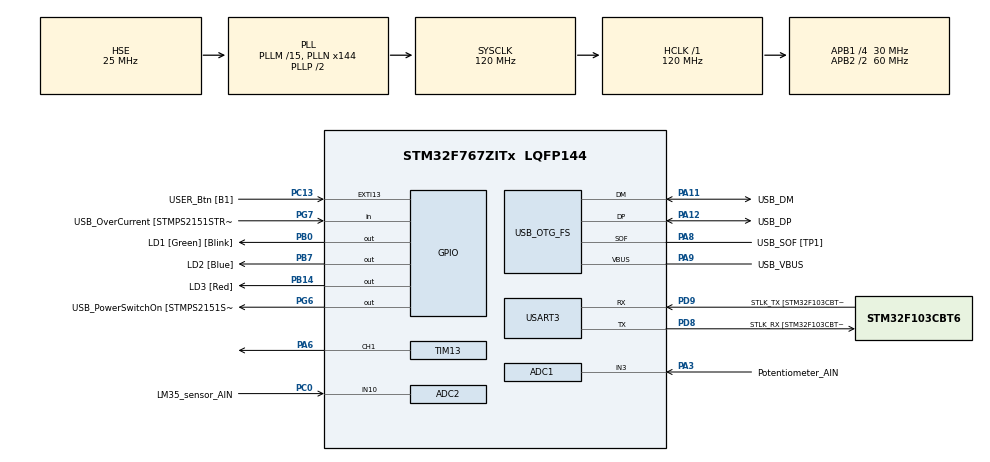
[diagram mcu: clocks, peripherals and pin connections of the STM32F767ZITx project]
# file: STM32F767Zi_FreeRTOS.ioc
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ADC1.Channel-4\#ChannelRegularConversion=ADC_CHANNEL_3
ADC1.ClockPrescaler=ADC_CLOCK_SYNC_PCLK_DIV4
ADC1.ContinuousConvMode=ENABLE
ADC1.EOCSelection=ADC_EOC_SEQ_CONV
ADC1.NbrOfConversionFlag=1
ADC1.Rank-4\#ChannelRegularConversion=1
ADC1.Resolution=ADC_RESOLUTION_10B
ADC1.SamplingTime-4\#ChannelRegularConversion=ADC_SAMPLETIME_3CYCLES
ADC1.master=1
ADC2.Channel-1\#ChannelRegularConversion=ADC_CHANNEL_10
ADC2.ClockPrescaler=ADC_CLOCK_SYNC_PCLK_DIV4
ADC2.ContinuousConvMode=ENABLE
ADC2.EOCSelection=ADC_EOC_SEQ_CONV
ADC2.NbrOfConversionFlag=1
ADC2.Rank-1\#ChannelRegularConversion=1
ADC2.SamplingTime-1\#ChannelRegularConversion=ADC_SAMPLETIME_3CYCLES
FREERTOS.Events01=ISREvent,Static,ISREventControlBlock
FREERTOS.Queues01=msg_Queue,16,QUEUE_t,0,Static,msg_QueueBuffer,msg_QueueControlBlock
FREERTOS.Tasks01=defaultTask,24,128,StartDefaultTask,Default,NULL,Dynamic,NULL,NULL;BlinkyTask,8,128,StartBlinkyTask,Default,NULL,Dynamic,NULL,NULL;adcReadValueT,8,128,adcReadValueTask,Default,NULL,Static,adcReadValueTBuffer,adcReadValueTControlBlock;readTempT,8,128,readTempTask,Default,NULL,Static,myTask04Buffer,myTask04ControlBlock;pwmLedBrightnes,8,128,pwmLedBrightnessTask,Default,NULL,Static,pwmLedBrightnesBuffer,pwmLedBrightnesControlBlock;usartDebugPrint,8,128,usartDebugPrintTask,Default,NULL,Static,usartDebugPrintBuffer,usartDebugPrintControlBlock;checkISRStateT,24,256,checkISRStateTask,Default,NULL,Static,checkISRStateTBuffer,checkISRStateTControlBlock
FREERTOS.configGENERATE_RUN_TIME_STATS=1
FREERTOS.configUSE_NEWLIB_REENTRANT=1
FREERTOS.configUSE_STATS_FORMATTING_FUNCTIONS=1
Mcu.Family=STM32F7
Mcu.Name=STM32F767ZITx
Mcu.Package=LQFP144
NVIC.EXTI15_10_IRQn=true\:5\:0\:false\:false\:true\:true\:true\:true\:true
NVIC.PriorityGroup=NVIC_PRIORITYGROUP_4
NVIC.TIM1_UP_TIM10_IRQn=true\:5\:0\:false\:false\:true\:false\:true\:true\:true
NVIC.TIM8_UP_TIM13_IRQn=true\:15\:0\:false\:false\:true\:false\:false\:true\:true
NVIC.TimeBase=TIM8_UP_TIM13_IRQn
NVIC.TimeBaseIP=TIM8
PA11.GPIO_Label=USB_DM
PA11.Mode=Device_Only
PA11.Signal=USB_OTG_FS_DM
PA12.GPIO_Label=USB_DP
PA12.Mode=Device_Only
PA12.Signal=USB_OTG_FS_DP
PA13.GPIO_Label=TMS
PA13.Mode=Trace_Asynchronous_SW
PA13.Signal=SYS_JTMS-SWDIO
PA14.GPIO_Label=TCK
PA14.Mode=Trace_Asynchronous_SW
PA14.Signal=SYS_JTCK-SWCLK
PA3.GPIO_Label=Potentiometer_AIN
PA3.Signal=ADCx_IN3
PA6.Signal=S_TIM13_CH1
PA8.GPIO_Label=USB_SOF [TP1]
PA8.Mode=Activate_SOF_FS
PA8.Signal=USB_OTG_FS_SOF
PA9.GPIO_Label=USB_VBUS
PA9.Mode=Activate_VBUS
PA9.Signal=USB_OTG_FS_VBUS
PB0.GPIO_Label=LD1 [Green] [Blink]
PB0.Signal=GPIO_Output
PB14.GPIO_Label=LD3 [Red]
PB14.Signal=GPIO_Output
PB3.Mode=Trace_Asynchronous_SW
PB3.Signal=SYS_JTDO-SWO
PB7.GPIO_Label=LD2 [Blue]
PB7.Signal=GPIO_Output
PC0.GPIO_Label=LM35_sensor_AIN
PC0.Signal=ADCx_IN10
PC13.GPIO_Label=USER_Btn [B1]
PC13.GPIO_ModeDefaultEXTI=GPIO_MODE_IT_FALLING
PC13.GPIO_PuPd=GPIO_NOPULL
PC13.Signal=GPXTI13
PC14/OSC32_IN.Mode=LSE-External-Oscillator
PC14/OSC32_IN.Signal=RCC_OSC32_IN
PC15/OSC32_OUT.Mode=LSE-External-Oscillator
PC15/OSC32_OUT.Signal=RCC_OSC32_OUT
PD8.GPIO_Label=STLK_RX [STM32F103CBT6_PA3]
PD8.Mode=Asynchronous
PD8.Signal=USART3_TX
PD9.GPIO_Label=STLK_TX [STM32F103CBT6_PA2]
PD9.Mode=Asynchronous
PD9.Signal=USART3_RX
PG6.GPIO_Label=USB_PowerSwitchOn [STMPS2151STR_EN]
PG6.Signal=GPIO_Output
PG7.GPIO_Label=USB_OverCurrent [STMPS2151STR_FAULT]
PG7.Signal=GPIO_Input
PH0/OSC_IN.GPIO_Label=MCO [STM32F103CBT6_PA8]
PH0/OSC_IN.Mode=HSE-External-Oscillator
PH0/OSC_IN.Signal=RCC_OSC_IN
PH1/OSC_OUT.Mode=HSE-External-Oscillator
PH1/OSC_OUT.Signal=RCC_OSC_OUT
ProjectManager.HeapSize=0x200
ProjectManager.StackSize=0x400
ProjectManager.TargetToolchain=STM32CubeIDE
RCC.48MHZClocksFreq_Value=24000000
RCC.AHBFreq_Value=120000000
RCC.APB1CLKDivider=RCC_HCLK_DIV4
RCC.APB1Freq_Value=30000000
RCC.APB1TimFreq_Value=60000000
RCC.APB2CLKDivider=RCC_HCLK_DIV2
RCC.APB2Freq_Value=60000000
RCC.APB2TimFreq_Value=120000000
RCC.CortexFreq_Value=120000000
RCC.HCLKFreq_Value=120000000
RCC.HSE_VALUE=25000000
RCC.HSI_VALUE=16000000
RCC.PLLM=15
RCC.PLLMUL=RCC_PLL_MUL9
RCC.PLLN=144
RCC.PLLQ=5
RCC.PRESCALERUSB=RCC_USBCLKSOURCE_PLL_DIV1_5
RCC.SYSCLKFreq_VALUE=120000000
RCC.SYSCLKSource=RCC_SYSCLKSOURCE_PLLCLK
RCC.SYSCLKSourceVirtual=RCC_SYSCLKSOURCE_PLLCLK
RCC.USART3CLockSelection=RCC_USART3CLKSOURCE_HSI
RCC.USBFreq_Value=48000000
RCC.VCOOutputFreq_Value=240000000
SH.ADCx_IN10.0=ADC2_IN10,IN10
SH.ADCx_IN3.0=ADC1_IN3,IN3
SH.S_TIM13_CH1.0=TIM13_CH1,PWM Generation1 CH1
TIM10.Period=599
TIM13.Channel=TIM_CHANNEL_1
TIM13.Period=1023
TIM13.Prescaler=0
USART3.VirtualMode-Asynchronous=VM_ASYNC
USB_OTG_FS.VirtualMode=Device_Only
VP_FREERTOS_VS_CMSIS_V2.Mode=CMSIS_V2
VP_SYS_VS_tim8.Mode=TIM8
VP_TIM10_VS_ClockSourceINT.Mode=Enable_Timer
VP_TIM13_VS_ClockSourceINT.Mode=Enable_Timer
board=NUCLEO-F767ZI

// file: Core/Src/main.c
/* USER CODE BEGIN Header */
/**
  ******************************************************************************
  * @file           : main.c
  * @brief          : Main program body
  ******************************************************************************
  * @attention
  *
  * Copyright (c) 2023 STMicroelectronics.
  * All rights reserved.
  *
  * This software is licensed under terms that can be found in the LICENSE file
  * in the root directory of this software component.
  * If no LICENSE file comes with this software, it is provided AS-IS.
  *
  ******************************************************************************
  */
/* USER CODE END Header */
#include "main.h"
#include "cmsis_os.h"

/* USER CODE BEGIN Includes */
#include "string.h"
#include "stdlib.h"
#include "stdio.h"
#include "stdbool.h"
/* USER CODE END Includes */

typedef StaticTask_t osStaticThreadDef_t;
typedef StaticQueue_t osStaticMessageQDef_t;
typedef StaticEventGroup_t osStaticEventGroupDef_t;
/* USER CODE BEGIN PTD */

typedef struct{
	char msg_buf[200];
	uint16_t adc_val;
} QUEUE_t;

/* USER CODE END PTD */

/* USER CODE BEGIN PD */
#define ADC_RESOLUTION          (uint16_t)(4095)
#define ADC_VREF                (uint16_t)(3300)
#define TM35_MV_TO_C						(10)
#define LED_ISR_FLAG			(uint32_t)(0x51)
/* USER CODE END PD */

ADC_HandleTypeDef hadc1;
ADC_HandleTypeDef hadc2;

TIM_HandleTypeDef htim10;
TIM_HandleTypeDef htim13;

UART_HandleTypeDef huart3;

PCD_HandleTypeDef hpcd_USB_OTG_FS;

/* Definitions for defaultTask */
osThreadId_t defaultTaskHandle;
const osThreadAttr_t defaultTask_attributes = {
  .name = "defaultTask",
  .stack_size = 128 * 4,
  .priority = (osPriority_t) osPriorityNormal,
};
/* Definitions for BlinkyTask */
osThreadId_t BlinkyTaskHandle;
const osThreadAttr_t BlinkyTask_attributes = {
  .name = "BlinkyTask",
  .stack_size = 128 * 4,
  .priority = (osPriority_t) osPriorityLow,
};
/* Definitions for adcReadValueT */
osThreadId_t adcReadValueTHandle;
uint32_t adcReadValueTBuffer[ 128 ];
osStaticThreadDef_t adcReadValueTControlBlock;
const osThreadAttr_t adcReadValueT_attributes = {
  .name = "adcReadValueT",
  .cb_mem = &adcReadValueTControlBlock,
  .cb_size = sizeof(adcReadValueTControlBlock),
  .stack_mem = &adcReadValueTBuffer[0],
  .stack_size = sizeof(adcReadValueTBuffer),
  .priority = (osPriority_t) osPriorityLow,
};
/* Definitions for readTempT */
osThreadId_t readTempTHandle;
uint32_t myTask04Buffer[ 128 ];
osStaticThreadDef_t myTask04ControlBlock;
const osThreadAttr_t readTempT_attributes = {
  .name = "readTempT",
  .cb_mem = &myTask04ControlBlock,
  .cb_size = sizeof(myTask04ControlBlock),
  .stack_mem = &myTask04Buffer[0],
  .stack_size = sizeof(myTask04Buffer),
  .priority = (osPriority_t) osPriorityLow,
};
/* Definitions for pwmLedBrightnes */
osThreadId_t pwmLedBrightnesHandle;
uint32_t pwmLedBrightnesBuffer[ 128 ];
osStaticThreadDef_t pwmLedBrightnesControlBlock;
const osThreadAttr_t pwmLedBrightnes_attributes = {
  .name = "pwmLedBrightnes",
  .cb_mem = &pwmLedBrightnesControlBlock,
  .cb_size = sizeof(pwmLedBrightnesControlBlock),
  .stack_mem = &pwmLedBrightnesBuffer[0],
  .stack_size = sizeof(pwmLedBrightnesBuffer),
  .priority = (osPriority_t) osPriorityLow,
};
/* Definitions for usartDebugPrint */
osThreadId_t usartDebugPrintHandle;
uint32_t usartDebugPrintBuffer[ 128 ];
osStaticThreadDef_t usartDebugPrintControlBlock;
const osThreadAttr_t usartDebugPrint_attributes = {
  .name = "usartDebugPrint",
  .cb_mem = &usartDebugPrintControlBlock,
  .cb_size = sizeof(usartDebugPrintControlBlock),
  .stack_mem = &usartDebugPrintBuffer[0],
  .stack_size = sizeof(usartDebugPrintBuffer),
  .priority = (osPriority_t) osPriorityLow,
};
/* Definitions for checkISRStateT */
osThreadId_t checkISRStateTHandle;
uint32_t checkISRStateTBuffer[ 256 ];
osStaticThreadDef_t checkISRStateTControlBlock;
const osThreadAttr_t checkISRStateT_attributes = {
  .name = "checkISRStateT",
  .cb_mem = &checkISRStateTControlBlock,
  .cb_size = sizeof(checkISRStateTControlBlock),
  .stack_mem = &checkISRStateTBuffer[0],
  .stack_size = sizeof(checkISRStateTBuffer),
  .priority = (osPriority_t) osPriorityNormal,
};
/* Definitions for msg_Queue */
osMessageQueueId_t msg_QueueHandle;
uint8_t msg_QueueBuffer[ 16 * sizeof( QUEUE_t ) ];
osStaticMessageQDef_t msg_QueueControlBlock;
const osMessageQueueAttr_t msg_Queue_attributes = {
  .name = "msg_Queue",
  .cb_mem = &msg_QueueControlBlock,
  .cb_size = sizeof(msg_QueueControlBlock),
  .mq_mem = &msg_QueueBuffer,
  .mq_size = sizeof(msg_QueueBuffer)
};
/* Definitions for ISREvent */
osEventFlagsId_t ISREventHandle;
osStaticEventGroupDef_t ISREventControlBlock;
const osEventFlagsAttr_t ISREvent_attributes = {
  .name = "ISREvent",
  .cb_mem = &ISREventControlBlock,
  .cb_size = sizeof(ISREventControlBlock),
};
/* USER CODE BEGIN PV */
#if (FREERTOS_PROFILER == 1)
volatile unsigned long ulHighFrequencyTimerTicks;
#endif

TaskHandle_t myTaskLedBlink = NULL;

osEventFlagsId_t EventGroup1;
/* USER CODE END PV */

void SystemClock_Config(void);
static void MX_GPIO_Init(void);
static void MX_ADC1_Init(void);
static void MX_TIM13_Init(void);
static void MX_ADC2_Init(void);
static void MX_TIM10_Init(void);
static void MX_USART3_UART_Init(void);
static void MX_USB_OTG_FS_PCD_Init(void);
void StartDefaultTask(void *argument);
void StartBlinkyTask(void *argument);
void adcReadValueTask(void *argument);
void readTempTask(void *argument);
void pwmLedBrightnessTask(void *argument);
void usartDebugPrintTask(void *argument);
void checkISRStateTask(void *argument);

/* USER CODE BEGIN PFP */
void ledBlinkBlue(void *pvParameters);
static uint16_t getTemperature(uint16_t adc_raw_value);
static void printUsartMessage(char* message);

void configureTimerForRunTimeStats(void);
unsigned long getRunTimeCounterValue(void);

/* USER CODE END PFP */

/* USER CODE BEGIN 0 */
#if (SWO_DEBUG == 1)

/* Override low-level _write system call */
int _write(int file, char *ptr, int len)
{
  /* Implement your write code here, this is used by puts and printf for example */
  int i=0;
  for(i=0 ; i<len ; i++)
    ITM_SendChar((*ptr++));
  return len;
}

#endif

/* Debug Exception and Monitor Control Register base address */
#define DEMCR                 *((volatile uint32_t*) 0xE000EDFCu)

/* ITM register addresses */
#define ITM_STIMULUS_PORT0    *((volatile uint32_t*) 0xE0000000u)
#define ITM_TRACE_EN          *((volatile uint32_t*) 0xE0000E00u)

/* USER CODE END 0 */

int main(void)
{

  /* MCU Configuration--------------------------------------------------------*/

  /* Reset of all peripherals, Initializes the Flash interface and the Systick. */
  HAL_Init();

  /* Configure the system clock */
  SystemClock_Config();

  /* USER CODE BEGIN SysInit */
//  vTraceEnable(TRC_START);
  /* USER CODE END SysInit */

  /* Initialize all configured peripherals */
  MX_GPIO_Init();
  MX_ADC1_Init();
  MX_TIM13_Init();
  MX_ADC2_Init();
  MX_TIM10_Init();
  MX_USART3_UART_Init();
  MX_USB_OTG_FS_PCD_Init();
  /* USER CODE BEGIN 2 */

  HAL_ADC_Start(&hadc1);
  HAL_ADC_Start(&hadc2);

  HAL_TIM_PWM_Start(&htim13, TIM_CHANNEL_1);

  ITM_SendChar(0x00);
  ITM_SendChar(0x0F);
  ITM_SendChar(0xF0);
  ITM_SendChar(0xFF);

  /* USER CODE END 2 */

  /* Init scheduler */
  osKernelInitialize();

  /* USER CODE BEGIN RTOS_SEMAPHORES */
#if(TRACELIZER_ENB == 1)
  vTraceEnable(TRC_START);
#endif
  /* USER CODE END RTOS_SEMAPHORES */

  /* Create the queue(s) */
  /* creation of msg_Queue */
  msg_QueueHandle = osMessageQueueNew (16, sizeof(QUEUE_t), &msg_Queue_attributes);

  /* Create the thread(s) */
  /* creation of defaultTask */
  defaultTaskHandle = osThreadNew(StartDefaultTask, NULL, &defaultTask_attributes);

  /* creation of BlinkyTask */
  BlinkyTaskHandle = osThreadNew(StartBlinkyTask, NULL, &BlinkyTask_attributes);

  /* creation of adcReadValueT */
  adcReadValueTHandle = osThreadNew(adcReadValueTask, NULL, &adcReadValueT_attributes);

  /* creation of readTempT */
  readTempTHandle = osThreadNew(readTempTask, NULL, &readTempT_attributes);

  /* creation of pwmLedBrightnes */
  pwmLedBrightnesHandle = osThreadNew(pwmLedBrightnessTask, NULL, &pwmLedBrightnes_attributes);

  /* creation of usartDebugPrint */
  usartDebugPrintHandle = osThreadNew(usartDebugPrintTask, NULL, &usartDebugPrint_attributes);

  /* creation of checkISRStateT */
  checkISRStateTHandle = osThreadNew(checkISRStateTask, NULL, &checkISRStateT_attributes);

  /* USER CODE BEGIN RTOS_THREADS */

  EventGroup1 = osEventFlagsNew(NULL);
  /* add threads, ... */
  xTaskCreate(
		ledBlinkBlue,
		"led_blinker",
		128,
		NULL,
		osPriorityLow,
		&myTaskLedBlink
		);

  /* USER CODE END RTOS_THREADS */

  /* Create the event(s) */
  /* creation of ISREvent */
  ISREventHandle = osEventFlagsNew(&ISREvent_attributes);

  /* Start scheduler */
  osKernelStart();
  /* We should never get here as control is now taken by the scheduler */
  /* Infinite loop */
  while (1)
  {

  }
}

void SystemClock_Config(void)
{
  RCC_OscInitTypeDef RCC_OscInitStruct = {0};
  RCC_ClkInitTypeDef RCC_ClkInitStruct = {0};

  /** Configure LSE Drive Capability
  */
  HAL_PWR_EnableBkUpAccess();

  /** Configure the main internal regulator output voltage
  */
  __HAL_RCC_PWR_CLK_ENABLE();
  __HAL_PWR_VOLTAGESCALING_CONFIG(PWR_REGULATOR_VOLTAGE_SCALE3);

  /** Initializes the RCC Oscillators according to the specified parameters
  * in the RCC_OscInitTypeDef structure.
  */
  RCC_OscInitStruct.OscillatorType = RCC_OSCILLATORTYPE_HSI|RCC_OSCILLATORTYPE_HSE;
  RCC_OscInitStruct.HSEState = RCC_HSE_ON;
  RCC_OscInitStruct.HSIState = RCC_HSI_ON;
  RCC_OscInitStruct.HSICalibrationValue = RCC_HSICALIBRATION_DEFAULT;
  RCC_OscInitStruct.PLL.PLLState = RCC_PLL_ON;
  RCC_OscInitStruct.PLL.PLLSource = RCC_PLLSOURCE_HSE;
  RCC_OscInitStruct.PLL.PLLM = 15;
  RCC_OscInitStruct.PLL.PLLN = 144;
  RCC_OscInitStruct.PLL.PLLP = RCC_PLLP_DIV2;
  RCC_OscInitStruct.PLL.PLLQ = 5;
  RCC_OscInitStruct.PLL.PLLR = 2;
  if (HAL_RCC_OscConfig(&RCC_OscInitStruct) != HAL_OK)
  {
    Error_Handler();
  }

  /** Initializes the CPU, AHB and APB buses clocks
  */
  RCC_ClkInitStruct.ClockType = RCC_CLOCKTYPE_HCLK|RCC_CLOCKTYPE_SYSCLK
                              |RCC_CLOCKTYPE_PCLK1|RCC_CLOCKTYPE_PCLK2;
  RCC_ClkInitStruct.SYSCLKSource = RCC_SYSCLKSOURCE_PLLCLK;
  RCC_ClkInitStruct.AHBCLKDivider = RCC_SYSCLK_DIV1;
  RCC_ClkInitStruct.APB1CLKDivider = RCC_HCLK_DIV4;
  RCC_ClkInitStruct.APB2CLKDivider = RCC_HCLK_DIV2;

  if (HAL_RCC_ClockConfig(&RCC_ClkInitStruct, FLASH_LATENCY_3) != HAL_OK)
  {
    Error_Handler();
  }
}

static void MX_ADC1_Init(void)
{

  ADC_ChannelConfTypeDef sConfig = {0};

  /** Configure the global features of the ADC (Clock, Resolution, Data Alignment and number of conversion)
  */
  hadc1.Instance = ADC1;
  hadc1.Init.ClockPrescaler = ADC_CLOCK_SYNC_PCLK_DIV4;
  hadc1.Init.Resolution = ADC_RESOLUTION_10B;
  hadc1.Init.ScanConvMode = ADC_SCAN_DISABLE;
  hadc1.Init.ContinuousConvMode = ENABLE;
  hadc1.Init.DiscontinuousConvMode = DISABLE;
  hadc1.Init.ExternalTrigConvEdge = ADC_EXTERNALTRIGCONVEDGE_NONE;
  hadc1.Init.ExternalTrigConv = ADC_SOFTWARE_START;
  hadc1.Init.DataAlign = ADC_DATAALIGN_RIGHT;
  hadc1.Init.NbrOfConversion = 1;
  hadc1.Init.DMAContinuousRequests = DISABLE;
  hadc1.Init.EOCSelection = ADC_EOC_SEQ_CONV;
  if (HAL_ADC_Init(&hadc1) != HAL_OK)
  {
    Error_Handler();
  }

  /** Configure for the selected ADC regular channel its corresponding rank in the sequencer and its sample time.
  */
  sConfig.Channel = ADC_CHANNEL_3;
  sConfig.Rank = ADC_REGULAR_RANK_1;
  sConfig.SamplingTime = ADC_SAMPLETIME_3CYCLES;
  if (HAL_ADC_ConfigChannel(&hadc1, &sConfig) != HAL_OK)
  {
    Error_Handler();
  }

}

static void MX_ADC2_Init(void)
{

  ADC_ChannelConfTypeDef sConfig = {0};

  /** Configure the global features of the ADC (Clock, Resolution, Data Alignment and number of conversion)
  */
  hadc2.Instance = ADC2;
  hadc2.Init.ClockPrescaler = ADC_CLOCK_SYNC_PCLK_DIV4;
  hadc2.Init.Resolution = ADC_RESOLUTION_12B;
  hadc2.Init.ScanConvMode = ADC_SCAN_DISABLE;
  hadc2.Init.ContinuousConvMode = ENABLE;
  hadc2.Init.DiscontinuousConvMode = DISABLE;
  hadc2.Init.ExternalTrigConvEdge = ADC_EXTERNALTRIGCONVEDGE_NONE;
  hadc2.Init.ExternalTrigConv = ADC_SOFTWARE_START;
  hadc2.Init.DataAlign = ADC_DATAALIGN_RIGHT;
  hadc2.Init.NbrOfConversion = 1;
  hadc2.Init.DMAContinuousRequests = DISABLE;
  hadc2.Init.EOCSelection = ADC_EOC_SEQ_CONV;
  if (HAL_ADC_Init(&hadc2) != HAL_OK)
  {
    Error_Handler();
  }

  /** Configure for the selected ADC regular channel its corresponding rank in the sequencer and its sample time.
  */
  sConfig.Channel = ADC_CHANNEL_10;
  sConfig.Rank = ADC_REGULAR_RANK_1;
  sConfig.SamplingTime = ADC_SAMPLETIME_3CYCLES;
  if (HAL_ADC_ConfigChannel(&hadc2, &sConfig) != HAL_OK)
  {
    Error_Handler();
  }

}

static void MX_TIM10_Init(void)
{

  htim10.Instance = TIM10;
  htim10.Init.Prescaler = 0;
  htim10.Init.CounterMode = TIM_COUNTERMODE_UP;
  htim10.Init.Period = 599;
  htim10.Init.ClockDivision = TIM_CLOCKDIVISION_DIV1;
  htim10.Init.AutoReloadPreload = TIM_AUTORELOAD_PRELOAD_DISABLE;
  if (HAL_TIM_Base_Init(&htim10) != HAL_OK)
  {
    Error_Handler();
  }

}

static void MX_TIM13_Init(void)
{

  TIM_OC_InitTypeDef sConfigOC = {0};

  htim13.Instance = TIM13;
  htim13.Init.Prescaler = 0;
  htim13.Init.CounterMode = TIM_COUNTERMODE_UP;
  htim13.Init.Period = 1023;
  htim13.Init.ClockDivision = TIM_CLOCKDIVISION_DIV1;
  htim13.Init.AutoReloadPreload = TIM_AUTORELOAD_PRELOAD_DISABLE;
  if (HAL_TIM_Base_Init(&htim13) != HAL_OK)
  {
    Error_Handler();
  }
  if (HAL_TIM_PWM_Init(&htim13) != HAL_OK)
  {
    Error_Handler();
  }
  sConfigOC.OCMode = TIM_OCMODE_PWM1;
  sConfigOC.Pulse = 0;
  sConfigOC.OCPolarity = TIM_OCPOLARITY_HIGH;
  sConfigOC.OCFastMode = TIM_OCFAST_DISABLE;
  if (HAL_TIM_PWM_ConfigChannel(&htim13, &sConfigOC, TIM_CHANNEL_1) != HAL_OK)
  {
    Error_Handler();
  }
  HAL_TIM_MspPostInit(&htim13);

}

static void MX_USART3_UART_Init(void)
{

  huart3.Instance = USART3;
  huart3.Init.BaudRate = 115200;
  huart3.Init.WordLength = UART_WORDLENGTH_8B;
  huart3.Init.StopBits = UART_STOPBITS_1;
  huart3.Init.Parity = UART_PARITY_NONE;
  huart3.Init.Mode = UART_MODE_TX_RX;
  huart3.Init.HwFlowCtl = UART_HWCONTROL_NONE;
  huart3.Init.OverSampling = UART_OVERSAMPLING_16;
  huart3.Init.OneBitSampling = UART_ONE_BIT_SAMPLE_DISABLE;
  huart3.AdvancedInit.AdvFeatureInit = UART_ADVFEATURE_NO_INIT;
  if (HAL_UART_Init(&huart3) != HAL_OK)
  {
    Error_Handler();
  }

}

static void MX_USB_OTG_FS_PCD_Init(void)
{

  hpcd_USB_OTG_FS.Instance = USB_OTG_FS;
  hpcd_USB_OTG_FS.Init.dev_endpoints = 6;
  hpcd_USB_OTG_FS.Init.speed = PCD_SPEED_FULL;
  hpcd_USB_OTG_FS.Init.dma_enable = DISABLE;
  hpcd_USB_OTG_FS.Init.phy_itface = PCD_PHY_EMBEDDED;
  hpcd_USB_OTG_FS.Init.Sof_enable = ENABLE;
  hpcd_USB_OTG_FS.Init.low_power_enable = DISABLE;
  hpcd_USB_OTG_FS.Init.lpm_enable = DISABLE;
  hpcd_USB_OTG_FS.Init.vbus_sensing_enable = ENABLE;
  hpcd_USB_OTG_FS.Init.use_dedicated_ep1 = DISABLE;
  if (HAL_PCD_Init(&hpcd_USB_OTG_FS) != HAL_OK)
  {
    Error_Handler();
  }

}

static void MX_GPIO_Init(void)
{
  GPIO_InitTypeDef GPIO_InitStruct = {0};

  /* GPIO Ports Clock Enable */
  __HAL_RCC_GPIOC_CLK_ENABLE();
  __HAL_RCC_GPIOH_CLK_ENABLE();
  __HAL_RCC_GPIOA_CLK_ENABLE();
  __HAL_RCC_GPIOB_CLK_ENABLE();
  __HAL_RCC_GPIOD_CLK_ENABLE();
  __HAL_RCC_GPIOG_CLK_ENABLE();

  /*Configure GPIO pin Output Level */
  HAL_GPIO_WritePin(GPIOB, LD1_Pin|LD3_Pin|LD2_Pin, GPIO_PIN_RESET);

  /*Configure GPIO pin Output Level */
  HAL_GPIO_WritePin(USB_PowerSwitchOn_GPIO_Port, USB_PowerSwitchOn_Pin, GPIO_PIN_RESET);

  /*Configure GPIO pin : USER_Btn_Pin */
  GPIO_InitStruct.Pin = USER_Btn_Pin;
  GPIO_InitStruct.Mode = GPIO_MODE_IT_FALLING;
  GPIO_InitStruct.Pull = GPIO_NOPULL;
  HAL_GPIO_Init(USER_Btn_GPIO_Port, &GPIO_InitStruct);

  /*Configure GPIO pins : LD1_Pin LD3_Pin LD2_Pin */
  GPIO_InitStruct.Pin = LD1_Pin|LD3_Pin|LD2_Pin;
  GPIO_InitStruct.Mode = GPIO_MODE_OUTPUT_PP;
  GPIO_InitStruct.Pull = GPIO_NOPULL;
  GPIO_InitStruct.Speed = GPIO_SPEED_FREQ_LOW;
  HAL_GPIO_Init(GPIOB, &GPIO_InitStruct);

  /*Configure GPIO pin : USB_PowerSwitchOn_Pin */
  GPIO_InitStruct.Pin = USB_PowerSwitchOn_Pin;
  GPIO_InitStruct.Mode = GPIO_MODE_OUTPUT_PP;
  GPIO_InitStruct.Pull = GPIO_NOPULL;
  GPIO_InitStruct.Speed = GPIO_SPEED_FREQ_LOW;
  HAL_GPIO_Init(USB_PowerSwitchOn_GPIO_Port, &GPIO_InitStruct);

  /*Configure GPIO pin : USB_OverCurrent_Pin */
  GPIO_InitStruct.Pin = USB_OverCurrent_Pin;
  GPIO_InitStruct.Mode = GPIO_MODE_INPUT;
  GPIO_InitStruct.Pull = GPIO_NOPULL;
  HAL_GPIO_Init(USB_OverCurrent_GPIO_Port, &GPIO_InitStruct);

  /* EXTI interrupt init*/
  HAL_NVIC_SetPriority(EXTI15_10_IRQn, 5, 0);
  HAL_NVIC_EnableIRQ(EXTI15_10_IRQn);

}

/* USER CODE BEGIN 4 */
#if (FREERTOS_PROFILER == 1)
void configureTimerForRunTimeStats(void)
{
    ulHighFrequencyTimerTicks = 0;
    HAL_TIM_Base_Start_IT(&htim10);
}

unsigned long getRunTimeCounterValue(void)
{
	return ulHighFrequencyTimerTicks;
}

#endif

/**
  * @brief User button IRQ callback function
  * @param uint16_t GPIO_Pin
  * @retval None
  */
void HAL_GPIO_EXTI_Callback(uint16_t GPIO_Pin)
{
  if (GPIO_Pin == USER_Btn_Pin)
  {
	HAL_GPIO_TogglePin(LD3_GPIO_Port, LD3_Pin);
    osEventFlagsSet(EventGroup1, LED_ISR_FLAG);
  }
}

/**
  * @brief calculates temperature from TM35 sensor ADC raw value
  * @param uint16_t adc_raw_value
  * @retval None
  */
static uint16_t getTemperature(uint16_t adc_raw_value)
{
	return (adc_raw_value / TM35_MV_TO_C); /* 10mV / 1C degree*/
}

/**
  * @brief print message via USART interface
  * @param const char* message
  * @retval None
  */
static void printUsartMessage(char* message)
{
	HAL_UART_Transmit(
	     &huart3,
	     (uint8_t*)message,
	     strlen(message),
	     1
	     );
}

/* USER CODE END 4 */

void StartDefaultTask(void *argument)
{
  /* USER CODE BEGIN 5 */
  (void) argument;
  /* Infinite loop */
  for(;;)
  {
    osDelay(1);
  }
  /* USER CODE END 5 */
}

/* USER CODE BEGIN Header_StartBlinkyTask */
/**
* @brief Function implementing the ledBlinkBlue thread (native FreeRTOS API).
* @param argument: Not used
* @retval None
*/
void ledBlinkBlue(void *pvParameters)
 {
	(void) pvParameters;
	for(;;)
	{
		HAL_GPIO_TogglePin(LD2_GPIO_Port, LD2_Pin);
		vTaskDelay(100);
	}
 }

/**
* @brief Function implementing the BlinkyTask thread.
* @param argument: Not used
* @retval None
*/
/* USER CODE END Header_StartBlinkyTask */
void StartBlinkyTask(void *argument)
{
  /* USER CODE BEGIN StartBlinkyTask */
  (void) argument;
  /* Infinite loop */
  for(;;)
  {
	HAL_GPIO_TogglePin(LD1_GPIO_Port, LD1_Pin);
	osDelay(500);
  }
  /* USER CODE END StartBlinkyTask */
}

void adcReadValueTask(void *argument)
{
  /* USER CODE BEGIN adcReadValueTask */
  (void) argument;
  QUEUE_t message;
  /* Infinite loop */
  for(;;)
  {
	uint16_t adc_value = HAL_ADC_GetValue(&hadc1);

	message.adc_val = adc_value;

	osMessageQueuePut(msg_QueueHandle,
			&message,
			0,
			osWaitForever);

    osDelay(10);
  }
  /* USER CODE END adcReadValueTask */
}

void readTempTask(void *argument)
{
  /* USER CODE BEGIN readTempTask */
  (void) argument;
  QUEUE_t message;
  /* Infinite loop */
  for(;;)
  {
	uint16_t adc_voltage = (ADC_VREF * (uint16_t)HAL_ADC_GetValue(&hadc2)) / ADC_RESOLUTION;
	uint16_t tempC = getTemperature(adc_voltage); /* 10mV / 1C degree*/

	itoa(tempC, message.msg_buf, 10);
	strcat(message.msg_buf, " C :[temperature value]\r\n\0");

	osMessageQueuePut(msg_QueueHandle,
			&message,
			0,
			osWaitForever
			);

    osDelay(10);
  }
  /* USER CODE END readTempTask */
}

void pwmLedBrightnessTask(void *argument)
{
  /* USER CODE BEGIN pwmLedBrightnessTask */
  (void) argument;
  QUEUE_t message;

  /* Infinite loop */
  for(;;)
  {
	osMessageQueueGet(msg_QueueHandle,
			&message,
			0,
			osWaitForever);

	__HAL_TIM_SET_COMPARE(&htim13, TIM_CHANNEL_1, message.adc_val);

	itoa(message.adc_val, message.msg_buf, 10);
	strcat(message.msg_buf, " :[potentiometer value]\r\n\0");

	osMessageQueuePut(msg_QueueHandle,
			&message,
			0,
			osWaitForever
			);

    osDelay(10);
  }
  /* USER CODE END pwmLedBrightnessTask */
}

void usartDebugPrintTask(void *argument)
{
  /* USER CODE BEGIN usartDebugPrintTask */
  (void) argument;
  QUEUE_t message;
//	char msg[20] = "test\r\n\0";
  /* Infinite loop */
  for(;;)
  {
	osMessageQueueGet(msg_QueueHandle,
			&message,
			0,
			osWaitForever
			);

	printUsartMessage(&message.msg_buf);

    osDelay(1);
  }
  /* USER CODE END usartDebugPrintTask */
}

void checkISRStateTask(void *argument)
{
  /* USER CODE BEGIN checkISRStateTask */
  (void) argument;

  GPIO_PinState led_gpio_state;

  const char* led_on = "Pin state HIGH [Flag from ISR]\r\n\0";
  const char* led_off = "Pin state LOW [Flag from ISR]\r\n\0";
  const char* led_unknown = "Pin state UNKNOWN [Flag from ISR]\r\n\0";

  QUEUE_t message;
  /* Infinite loop */
  for(;;)
  {

	osEventFlagsWait(EventGroup1,
			LED_ISR_FLAG,
			osFlagsWaitAll,
			osWaitForever
			);

	led_gpio_state = HAL_GPIO_ReadPin(LD3_GPIO_Port, LD3_Pin);

	switch(led_gpio_state)
	{
	case GPIO_PIN_SET:
		strcpy(message.msg_buf, led_on);
		osMessageQueuePut(msg_QueueHandle,
				&message,
				0,
				osWaitForever
				);
		break;

	case GPIO_PIN_RESET:
		strcpy(message.msg_buf, led_off);
		osMessageQueuePut(msg_QueueHandle,
				&message,
				0,
				osWaitForever
				);
		break;

	default:
		strcpy(message.msg_buf, led_unknown);
		osMessageQueuePut(msg_QueueHandle,
				&message,
				0,
				osWaitForever
				);
		break;
	}

    osDelay(10);
  }
  /* USER CODE END checkISRStateTask */
}

void HAL_TIM_PeriodElapsedCallback(TIM_HandleTypeDef *htim)
{
  if (htim->Instance == TIM8) {
    HAL_IncTick();
  }
}

void Error_Handler(void)
{
  __disable_irq();
  while (1)
  {
  }
}

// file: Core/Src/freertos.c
/* USER CODE BEGIN Header */
/**
  ******************************************************************************
  * File Name          : freertos.c
  * Description        : Code for freertos applications
  ******************************************************************************
  * @attention
  *
  * Copyright (c) 2023 STMicroelectronics.
  * All rights reserved.
  *
  * This software is licensed under terms that can be found in the LICENSE file
  * in the root directory of this software component.
  * If no LICENSE file comes with this software, it is provided AS-IS.
  *
  ******************************************************************************
  */
/* USER CODE END Header */

#include "FreeRTOS.h"
#include "task.h"
#include "main.h"

/* Hook prototypes */
void configureTimerForRunTimeStats(void);
unsigned long getRunTimeCounterValue(void);

/* USER CODE BEGIN 1 */
/* Functions needed when configGENERATE_RUN_TIME_STATS is on */
__weak void configureTimerForRunTimeStats(void){}

__weak unsigned long getRunTimeCounterValue(void)
{
	return 0;
}

//__weak void SysTick_Handler( void ) {}
/* USER CODE END 1 */
